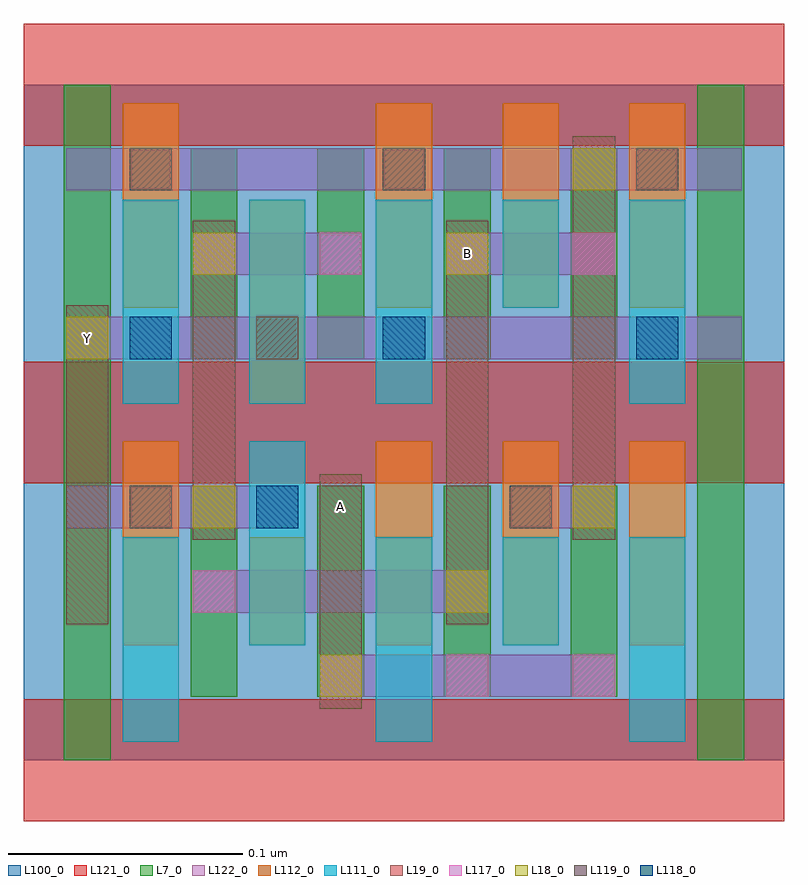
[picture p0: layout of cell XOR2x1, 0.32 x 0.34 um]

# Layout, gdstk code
import gdstk
lib = gdstk.Library(unit=1e-6, precision=2.5e-10)
def R(c, l, rs):  # rectangles x0, y0, x1, y1
    for r in rs: c.add(gdstk.rectangle(r[:2], r[2:], *l))
def A(c, l, x, y, w, h, nx, ny, dx, dy):  # array of equal rectangles
    R(c, l, [(x+i*dx, y+j*dy, x+i*dx+w, y+j*dy+h) for i in range(nx) for j in range(ny)])
L7_0 = (7, 0)
L18_0 = (18, 0)
L19_0 = (19, 0)
L100_0 = (100, 0)
L111_0 = (111, 0)
L112_0 = (112, 0)
L117_0 = (117, 0)
L118_0 = (118, 0)
L119_0 = (119, 0)
L121_0 = (121, 0)
L122_0 = (122, 0)

xor2x1 = lib.new_cell('XOR2x1')
A(xor2x1, L7_0, 0.071, 0.027, 0.02, 0.09, 4, 2, 0.054, 0.144)
R(xor2x1, L7_0, [(0.017,0,0.037,0.144), (0.287,0,0.307,0.144), (0.017,0.144,0.037,0.288), (0.287,0.144,0.307,0.288)])
R(xor2x1, L18_0, [(0.126,0.027,0.144,0.045), (0.18,0.063,0.198,0.081), (0.072,0.099,0.09,0.117), (0.234,0.099,0.252,0.117), (0.018,0.171,0.036,0.189), (0.072,0.207,0.09,0.225), (0.18,0.207,0.198,0.225), (0.234,0.243,0.252,0.261)])
R(xor2x1, L19_0, [(0.126,0.022,0.144,0.122), (0.018,0.058,0.036,0.194), (0.18,0.058,0.198,0.23), (0.072,0.094,0.09,0.23), (0.234,0.094,0.252,0.266)])
R(xor2x1, L100_0, [(0,0,0.324,0.288)])
A(xor2x1, L111_0, 0.042, 0.008, 0.024, 0.087, 3, 1, 0.108, 0)
A(xor2x1, L111_0, 0.042, 0.152, 0.024, 0.087, 3, 1, 0.054, 0)
R(xor2x1, L111_0, [(0.096,0.049,0.12,0.136), (0.204,0.049,0.228,0.095), (0.258,0.152,0.282,0.239), (0.204,0.193,0.228,0.239)])
A(xor2x1, L112_0, 0.15, 0.049, 0.024, 0.087, 3, 2, 0.054, 0.144)
R(xor2x1, L112_0, [(0.042,0.049,0.066,0.136), (0.096,0.049,0.12,0.095), (0.096,0.152,0.12,0.239), (0.042,0.193,0.066,0.28)])
A(xor2x1, L117_0, 0.126, 0.027, 0.018, 0.018, 3, 1, 0.054, 0)
A(xor2x1, L117_0, 0.072, 0.207, 0.018, 0.018, 4, 1, 0.054, 0)
R(xor2x1, L117_0, [(0.072,0.063,0.09,0.081)])
A(xor2x1, L118_0, 0.045, 0.171, 0.018, 0.018, 3, 1, 0.108, 0)
R(xor2x1, L118_0, [(0.099,0.099,0.117,0.117)])
A(xor2x1, L119_0, 0.045, 0.243, 0.018, 0.018, 3, 1, 0.108, 0)
R(xor2x1, L119_0, [(0.045,0.099,0.063,0.117), (0.207,0.099,0.225,0.117), (0.099,0.171,0.117,0.189)])
A(xor2x1, L121_0, 0, -0.026, 0.324, 0.052, 1, 3, 0, 0.144)
R(xor2x1, L122_0, [(0.126,0.027,0.252,0.045), (0.072,0.063,0.198,0.081), (0.018,0.099,0.117,0.117), (0.207,0.099,0.252,0.117), (0.018,0.171,0.306,0.189), (0.072,0.207,0.144,0.225), (0.18,0.207,0.252,0.225), (0.018,0.243,0.306,0.261)])
xor2x1.add(gdstk.Label('Y', (0.027,0.18), layer=19, texttype=251))
xor2x1.add(gdstk.Label('B', (0.189,0.216), layer=19, texttype=251))
xor2x1.add(gdstk.Label('A', (0.135,0.108), layer=19, texttype=251))

lib.write_gds('XOR2x1.gds')
